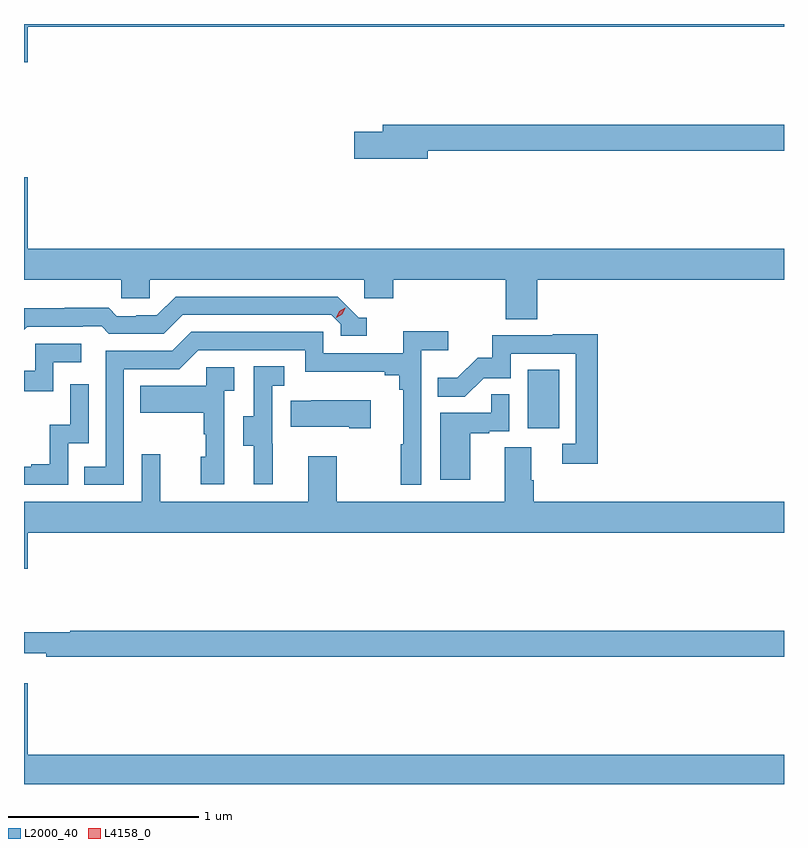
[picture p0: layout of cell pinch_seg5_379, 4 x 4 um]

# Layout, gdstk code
import gdstk
lib = gdstk.Library(unit=1e-6, precision=1e-09)
def R(c, l, rs):  # rectangles x0, y0, x1, y1
    for r in rs: c.add(gdstk.rectangle(r[:2], r[2:], *l))
def P(c, l, *ps):  # polygons
    for p in ps: c.add(gdstk.Polygon(p, *l))
L2000_40 = (2000, 40)
L4158_0 = (4158, 0)

pinch_seg5_379 = lib.new_cell('pinch_seg5_379')
R(pinch_seg5_379, L2000_40, [(1006.964,870.63,1007.128,870.937)])
P(pinch_seg5_379, L2000_40, [(1004.332,872.744),(1008.312,872.744),(1008.312,872.758),(1004.312,872.758),(1004.312,872.556),(1004.332,872.556)],
  [(1006.438,872.092),(1008.312,872.092),(1008.312,872.228),(1006.199,872.228),(1006.199,872.192),(1006.05,872.192),(1006.05,872.05),(1006.438,872.05)],
  [(1004.332,871.951),(1004.312,871.951),(1004.312,871.412),(1004.823,871.412),(1004.823,871.314),(1004.973,871.314),(1004.973,871.412),(1006.104,871.412),(1006.104,871.314),(1006.256,871.314),(1006.256,871.412),(1006.847,871.412),(1006.847,871.204),(1007.012,871.204),(1007.012,871.412),(1008.312,871.412),(1008.312,871.576),(1004.332,871.576)],
  [(1006.117,871.212),(1006.074,871.212),(1005.963,871.323),(1005.11,871.323),(1005.011,871.224),(1004.904,871.224),(1004.904,871.221),(1004.801,871.221),(1004.759,871.264),(1004.526,871.264),(1004.526,871.261),(1004.312,871.261),(1004.312,871.148),(1004.328,871.164),(1004.621,871.164),(1004.621,871.167),(1004.72,871.167),(1004.759,871.128),(1005.048,871.128),(1005.147,871.227),(1005.93,871.227),(1005.978,871.179),(1005.978,871.116),(1006.117,871.116)],
  [(1004.838,870.942),(1005.129,870.942),(1005.228,871.041),(1005.792,871.041),(1005.792,870.929),(1006.211,870.929),(1006.211,870.91),(1006.288,870.91),(1006.288,870.833),(1006.307,870.833),(1006.307,870.545),(1006.296,870.545),(1006.296,870.333),(1006.404,870.333),(1006.404,871.04),(1006.546,871.04),(1006.546,871.142),(1006.307,871.142),(1006.307,871.026),(1005.888,871.026),(1005.888,871.137),(1005.191,871.137),(1005.092,871.038),(1004.742,871.038),(1004.742,870.429),(1004.629,870.429),(1004.629,870.333),(1004.838,870.333)],
  [(1007.333,871.124),(1007.095,871.124),(1007.095,871.119),(1006.777,871.119),(1006.777,871.002),(1006.7,871.002),(1006.593,870.895),(1006.489,870.895),(1006.489,870.796),(1006.633,870.796),(1006.731,870.894),(1006.875,870.894),(1006.875,871.023),(1007.217,871.023),(1007.217,870.549),(1007.145,870.549),(1007.145,870.444),(1007.333,870.444)],
  [(1004.466,870.978),(1004.614,870.978),(1004.614,871.074),(1004.37,871.074),(1004.37,870.933),(1004.312,870.933),(1004.312,870.825),(1004.466,870.825)],
  [(1005.62,870.549),(1005.618,870.549),(1005.618,870.853),(1005.682,870.853),(1005.682,870.956),(1005.522,870.956),(1005.522,870.693),(1005.467,870.693),(1005.467,870.538),(1005.521,870.538),(1005.521,870.336),(1005.62,870.336)],
  [(1005.366,870.827),(1005.418,870.827),(1005.418,870.951),(1005.27,870.951),(1005.27,870.853),(1004.923,870.853),(1004.923,870.713),(1005.258,870.713),(1005.258,870.599),(1005.268,870.599),(1005.268,870.48),(1005.242,870.48),(1005.242,870.336),(1005.366,870.336)],
  [(1004.544,870.552),(1004.652,870.552),(1004.652,870.862),(1004.556,870.862),(1004.556,870.65),(1004.447,870.65),(1004.447,870.442),(1004.351,870.442),(1004.351,870.429),(1004.312,870.429),(1004.312,870.333),(1004.544,870.333)],
  [(1006.66,870.603),(1006.76,870.603),(1006.76,870.615),(1006.866,870.615),(1006.866,870.809),(1006.771,870.809),(1006.771,870.711),(1006.502,870.711),(1006.502,870.36),(1006.66,870.36)],
  [(1006.138,870.778),(1005.823,870.778),(1005.823,870.775),(1005.715,870.775),(1005.715,870.638),(1006.025,870.638),(1006.025,870.631),(1006.138,870.631)],
  [(1004.332,870.08),(1008.312,870.08),(1008.312,870.244),(1006.994,870.244),(1006.994,870.356),(1006.981,870.356),(1006.981,870.53),(1006.841,870.53),(1006.841,870.244),(1005.957,870.244),(1005.957,870.484),(1005.809,870.484),(1005.809,870.244),(1005.029,870.244),(1005.029,870.493),(1004.931,870.493),(1004.931,870.244),(1004.312,870.244),(1004.312,869.892),(1004.332,869.892)],
  [(1008.312,869.564),(1004.555,869.564),(1004.555,869.557),(1004.312,869.557),(1004.312,869.447),(1004.428,869.447),(1004.428,869.428),(1008.312,869.428)],
  [(1008.312,868.912),(1004.332,868.912),(1004.332,869.287),(1004.312,869.287),(1004.312,868.758),(1008.312,868.758)])
P(pinch_seg5_379, L4158_0, [(1005.955,871.212),(1005.955,871.212),(1005.971,871.245),(1006.002,871.264),(1006.003,871.264),(1006.003,871.264),(1005.986,871.231),(1005.955,871.212)])

lib.write_gds('pinch_seg5_379.gds')
